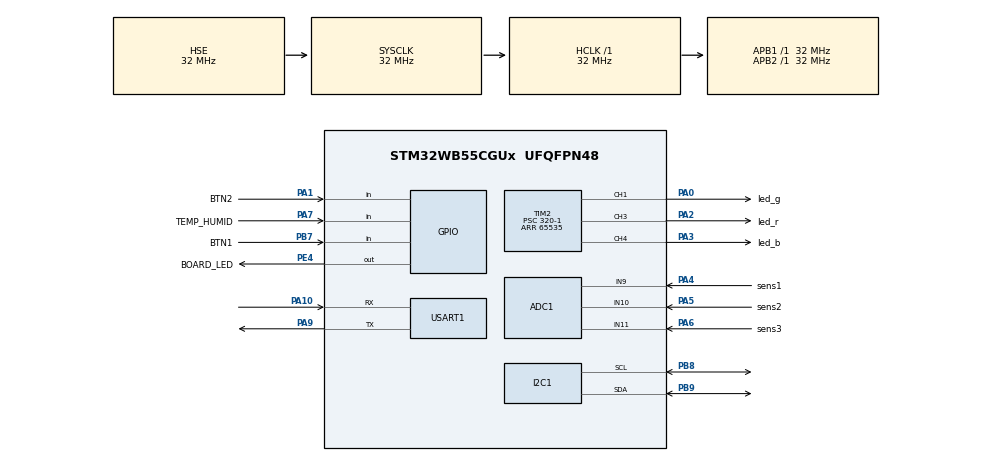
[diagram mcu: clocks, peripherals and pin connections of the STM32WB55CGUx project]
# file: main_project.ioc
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ADC1.Channel-3\#ChannelRegularConversion=ADC_CHANNEL_9
ADC1.Channel-4\#ChannelRegularConversion=ADC_CHANNEL_10
ADC1.Channel-5\#ChannelRegularConversion=ADC_CHANNEL_11
ADC1.ClockPrescaler=ADC_CLOCK_ASYNC_DIV32
ADC1.ContinuousConvMode=ENABLE
ADC1.DMAContinuousRequests=ENABLE
ADC1.EOCSelection=ADC_EOC_SEQ_CONV
ADC1.EnableRegularConversion=ENABLE
ADC1.ExternalTrigConv=ADC_SOFTWARE_START
ADC1.NbrOfConversion=3
ADC1.NbrOfConversionFlag=1
ADC1.OffsetNumber-3\#ChannelRegularConversion=ADC_OFFSET_NONE
ADC1.OffsetNumber-4\#ChannelRegularConversion=ADC_OFFSET_NONE
ADC1.OffsetNumber-5\#ChannelRegularConversion=ADC_OFFSET_NONE
ADC1.Overrun=ADC_OVR_DATA_OVERWRITTEN
ADC1.Rank-3\#ChannelRegularConversion=1
ADC1.Rank-4\#ChannelRegularConversion=2
ADC1.Rank-5\#ChannelRegularConversion=3
ADC1.SamplingTime-3\#ChannelRegularConversion=ADC_SAMPLETIME_2CYCLES_5
ADC1.SamplingTime-4\#ChannelRegularConversion=ADC_SAMPLETIME_2CYCLES_5
ADC1.SamplingTime-5\#ChannelRegularConversion=ADC_SAMPLETIME_2CYCLES_5
ADC1.master=1
Dma.ADC1.0.Direction=DMA_PERIPH_TO_MEMORY
Dma.ADC1.0.EventEnable=DISABLE
Dma.ADC1.0.Instance=DMA1_Channel1
Dma.ADC1.0.MemDataAlignment=DMA_MDATAALIGN_HALFWORD
Dma.ADC1.0.MemInc=DMA_MINC_ENABLE
Dma.ADC1.0.Mode=DMA_CIRCULAR
Dma.ADC1.0.PeriphDataAlignment=DMA_PDATAALIGN_HALFWORD
Dma.ADC1.0.PeriphInc=DMA_PINC_DISABLE
Dma.ADC1.0.Polarity=HAL_DMAMUX_REQ_GEN_RISING
Dma.ADC1.0.Priority=DMA_PRIORITY_LOW
Dma.ADC1.0.RequestNumber=1
Dma.ADC1.0.SignalID=NONE
Dma.ADC1.0.SyncEnable=DISABLE
Dma.ADC1.0.SyncPolarity=HAL_DMAMUX_SYNC_NO_EVENT
Dma.ADC1.0.SyncRequestNumber=1
Dma.ADC1.0.SyncSignalID=NONE
Dma.Request0=ADC1
I2C1.Timing=0x00B07CB4
Mcu.Family=STM32WB
Mcu.Name=STM32WB55CGUx
Mcu.Package=UFQFPN48
NVIC.DMA1_Channel1_IRQn=true\:0\:0\:false\:false\:true\:false\:true\:true
NVIC.HSEM_IRQn=true\:0\:0\:false\:false\:true\:false\:true\:true
NVIC.IPCC_C1_RX_IRQn=true\:0\:0\:false\:false\:true\:true\:true\:true
NVIC.IPCC_C1_TX_IRQn=true\:0\:0\:false\:false\:true\:true\:true\:true
NVIC.PriorityGroup=NVIC_PRIORITYGROUP_4
NVIC.USART1_IRQn=true\:0\:0\:false\:false\:true\:false\:true\:true
OSC_IN.Mode=HSE-External-Oscillator
OSC_IN.Signal=RCC_OSC_IN
OSC_OUT.Mode=HSE-External-Oscillator
OSC_OUT.Signal=RCC_OSC_OUT
PA0.GPIO_Label=led_g
PA0.GPIO_PuPd=GPIO_PULLDOWN
PA0.Signal=S_TIM2_CH1
PA1.GPIO_Label=BTN2
PA1.GPIO_PuPd=GPIO_PULLUP
PA1.Signal=GPIO_Input
PA10.Mode=Asynchronous
PA10.Signal=USART1_RX
PA2.GPIO_Label=led_r
PA2.GPIO_PuPd=GPIO_PULLDOWN
PA2.Signal=S_TIM2_CH3
PA3.GPIO_Label=led_b
PA3.GPIO_PuPd=GPIO_PULLDOWN
PA3.Signal=S_TIM2_CH4
PA4.GPIO_Label=sens1
PA4.Signal=ADCx_IN9
PA5.GPIO_Label=sens2
PA5.Signal=ADCx_IN10
PA6.GPIO_Label=sens3
PA6.Signal=ADCx_IN11
PA7.GPIO_Label=TEMP_HUMID
PA7.Signal=GPIO_Input
PA9.Mode=Asynchronous
PA9.Signal=USART1_TX
PB7.GPIO_Label=BTN1
PB7.GPIO_PuPd=GPIO_PULLUP
PB7.Signal=GPIO_Input
PB8.Mode=I2C
PB8.Signal=I2C1_SCL
PB9.Mode=I2C
PB9.Signal=I2C1_SDA
PC14-OSC32_IN.Mode=LSE-External-Oscillator
PC14-OSC32_IN.Signal=RCC_OSC32_IN
PC15-OSC32_OUT.Mode=LSE-External-Oscillator
PC15-OSC32_OUT.Signal=RCC_OSC32_OUT
PE4.GPIO_Label=BOARD_LED
PE4.Signal=GPIO_Output
ProjectManager.HeapSize=0x200
ProjectManager.StackSize=0x400
ProjectManager.TargetToolchain=STM32CubeIDE
RCC.ADCFreq_Value=48000000
RCC.AHBFreq_Value=32000000
RCC.APB1Freq_Value=32000000
RCC.APB1TimFreq_Value=32000000
RCC.APB2Freq_Value=32000000
RCC.APB2TimFreq_Value=32000000
RCC.APB3Freq_Value=16000000
RCC.CortexFreq_Value=32000000
RCC.HCLKFreq_Value=32000000
RCC.HSE_VALUE=32000000
RCC.HSI48_VALUE=48000000
RCC.HSI_VALUE=16000000
RCC.PLLSAI1N=24
RCC.SYSCLKFreq_VALUE=32000000
RCC.SYSCLKSource=RCC_SYSCLKSOURCE_HSE
RCC.USBFreq_Value=48000000
RCC.VCOOutputFreq_Value=32000000
RF1.Mode=RF1_Activate
RF1.Signal=RF_RF1
SH.ADCx_IN10.0=ADC1_IN10,IN10-Single-Ended
SH.ADCx_IN11.0=ADC1_IN11,IN11-Single-Ended
SH.ADCx_IN9.0=ADC1_IN9,IN9-Single-Ended
SH.S_TIM2_CH1.0=TIM2_CH1,PWM Generation1 CH1
SH.S_TIM2_CH3.0=TIM2_CH3,PWM Generation3 CH3
SH.S_TIM2_CH4.0=TIM2_CH4,PWM Generation4 CH4
STM32_WPAN.APPLI_CONFIG_LOG_LEVEL=LOG_LEVEL_DEBG
STM32_WPAN.APPLI_PRINT_FILE_FUNC_LINE=1
STM32_WPAN.CB_COLORCONTROL_SERVER_COLORLOOPSET_ENDPOINT1=false
STM32_WPAN.CB_COLORCONTROL_SERVER_MOVECOLORTEMP_ENDPOINT1=false
STM32_WPAN.CB_COLORCONTROL_SERVER_MOVECOLORXY_ENDPOINT1=false
STM32_WPAN.CB_COLORCONTROL_SERVER_MOVEHUEENH_ENDPOINT1=false
STM32_WPAN.CB_COLORCONTROL_SERVER_MOVEHUE_ENDPOINT1=false
STM32_WPAN.CB_COLORCONTROL_SERVER_MOVESAT_ENDPOINT1=false
STM32_WPAN.CB_COLORCONTROL_SERVER_MOVETOCOLORTEMP_ENDPOINT1=false
STM32_WPAN.CB_COLORCONTROL_SERVER_MOVETOCOLORXY_ENDPOINT1=true
STM32_WPAN.CB_COLORCONTROL_SERVER_MOVETOHUEENH_ENDPOINT1=false
STM32_WPAN.CB_COLORCONTROL_SERVER_MOVETOHUESATENH_ENDPOINT1=false
STM32_WPAN.CB_COLORCONTROL_SERVER_MOVETOHUESAT_ENDPOINT1=false
STM32_WPAN.CB_COLORCONTROL_SERVER_MOVETOHUE_ENDPOINT1=false
STM32_WPAN.CB_COLORCONTROL_SERVER_MOVETOSAT_ENDPOINT1=false
STM32_WPAN.CB_COLORCONTROL_SERVER_STEPCOLORTEMP_ENDPOINT1=false
STM32_WPAN.CB_COLORCONTROL_SERVER_STEPCOLORXY_ENDPOINT1=false
STM32_WPAN.CB_COLORCONTROL_SERVER_STEPHUEENH_ENDPOINT1=false
STM32_WPAN.CB_COLORCONTROL_SERVER_STEPHUE_ENDPOINT1=false
STM32_WPAN.CB_COLORCONTROL_SERVER_STEPSAT_ENDPOINT1=false
STM32_WPAN.CB_COLORCONTROL_SERVER_STOPMOVESTEP_ENDPOINT1=false
STM32_WPAN.CB_LEVELCONTROL_SERVER_MOVE_ENDPOINT1=false
STM32_WPAN.CB_LEVELCONTROL_SERVER_STEP_ENDPOINT1=false
STM32_WPAN.CB_LEVELCONTROL_SERVER_STOP_ENDPOINT1=false
STM32_WPAN.CFG_LSCLK_LSE=0
STM32_WPAN.ENDPOINT1_DEVICE_ID=ZCL_DEVICE_ONOFF_SWITCH
STM32_WPAN.ENDPOINT1_ID_ZGB=20
STM32_WPAN.ENDPOINT2_DEVICE_ID=ZCL_DEVICE_SIMPLE_SENSOR
STM32_WPAN.ENDPOINT2_ID_ZGB=21
STM32_WPAN.ENDPOINT3_DEVICE_ID=ZCL_DEVICE_SIMPLE_SENSOR
STM32_WPAN.ENDPOINT3_ID_ZGB=22
STM32_WPAN.ENDPOINT4_DEVICE_ID=ZCL_DEVICE_SIMPLE_SENSOR
STM32_WPAN.ENDPOINT4_ID_ZGB=23
STM32_WPAN.ZCL_BASIC_ENDPOINT1=CLIENT_SERVER
STM32_WPAN.ZCL_BASIC_ENDPOINT2=CLIENT_SERVER
STM32_WPAN.ZCL_COLORCONTROL_ENDPOINT1=SERVER
STM32_WPAN.ZCL_LEVELCONTROL_ENDPOINT1=SERVER
STM32_WPAN.ZCL_TEMPERATURE_MEASUREMENT_ENDPOINT2=SERVER
STM32_WPAN.ZCL_WATER_CONTENT_MEASUREMENT_ENDPOINT2=SERVER
STM32_WPAN.ZCL_WATER_CONTENT_MEASUREMENT_ENDPOINT3=SERVER
STM32_WPAN.ZCL_WATER_CONTENT_MEASUREMENT_ENDPOINT4=SERVER
STM32_WPAN.ZGB_DEVICE_ROLE=ROUTER
STM32_WPAN.ZGB_ENDPOINT1_PROFILE_ID=ZCL_PROFILE_HOME_AUTOMATION
STM32_WPAN.ZGB_NB_ENDPOINTS=4
TIM1.Period=10000-1
TIM1.Prescaler=32000-1
TIM16.Period=65535-1
TIM16.Prescaler=32-1
TIM2.Channel-PWM\ Generation1\ CH1=TIM_CHANNEL_1
TIM2.Channel-PWM\ Generation3\ CH3=TIM_CHANNEL_3
TIM2.Channel-PWM\ Generation4\ CH4=TIM_CHANNEL_4
TIM2.Period=65535
TIM2.Prescaler=320-1
USART1.VirtualMode-Asynchronous=VM_ASYNC
VP_HSEM_VS_HSEM.Mode=HSEM_Activate
VP_IPCC_VS_IPCC.Mode=IPCC_Activate
VP_MEMORYMAP_VS_MEMORYMAP.Mode=CurAppReg
VP_RTC_VS_RTC_Activate.Mode=RTC_Enabled
VP_RTC_VS_RTC_WakeUp_intern.Mode=WakeUp
VP_SEQUENCER_VS_SEQUENCER.Mode=SEQUENCER_Enabled
VP_STM32_WPAN_VS_ZIGBEE.Mode=MOD_ZGB_ENDPOINT
VP_TIM16_VS_ClockSourceINT.Mode=Enable_Timer
VP_TIM1_VS_ClockSourceINT.Mode=Internal
VP_TINY_LPM_VS_TINY_LPM.Mode=TINY_LPM_Enabled
board=custom

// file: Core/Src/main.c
/* USER CODE BEGIN Header */
/**
  ******************************************************************************
  * @file           : main.c
  * @brief          : Main program body
  ******************************************************************************
  * @attention
  *
  * Copyright (c) 2024 STMicroelectronics.
  * All rights reserved.
  *
  * This software is licensed under terms that can be found in the LICENSE file
  * in the root directory of this software component.
  * If no LICENSE file comes with this software, it is provided AS-IS.
  *
  ******************************************************************************
  */
/* USER CODE END Header */
#include "main.h"

/* USER CODE BEGIN Includes */
#include <stdio.h>
#include "../User_Code/HTU21/HTU21.h"
#include "../User_Code/SOIL_MOIST/SOIL_MOIST.h"
#include "../User_Code/RGB/RGB.h"
#include "../User_Code/ISR/isr.h"

/* USER CODE END Includes */

ADC_HandleTypeDef hadc1;
DMA_HandleTypeDef hdma_adc1;

I2C_HandleTypeDef hi2c1;

IPCC_HandleTypeDef hipcc;

RTC_HandleTypeDef hrtc;

TIM_HandleTypeDef htim1;
TIM_HandleTypeDef htim2;
TIM_HandleTypeDef htim16;

UART_HandleTypeDef huart1;

/* USER CODE BEGIN PV */
uint16_t adc_buffer[3];									// hold ADC DMA values

struct RGB_obj OBJ_RGB_LED = {0};						// Object for RGB LED Strip
struct HTU21_obj OBJ_HTU21 = {0};						// Object for temp/humidity sensor
struct SOIL_MOIST_obj OBJ_SOIL_MOIST_sensor_1 = {0};	// Object for soil moisture sensor 1
struct SOIL_MOIST_obj OBJ_SOIL_MOIST_sensor_2 = {0};	// Object for soil moisture sensor 1

/* HTU21D variables */

/* USER CODE END PV */

void SystemClock_Config(void);
void PeriphCommonClock_Config(void);
static void MX_RF_Init(void);
static void MX_GPIO_Init(void);
static void MX_DMA_Init(void);
static void MX_IPCC_Init(void);
static void MX_USART1_UART_Init(void);
static void MX_RTC_Init(void);
static void MX_I2C1_Init(void);
static void MX_TIM2_Init(void);
static void MX_TIM16_Init(void);
static void MX_ADC1_Init(void);
static void MX_TIM1_Init(void);

/* USER CODE BEGIN 0 */
#define HAL_SMALL_WAIT  50

// check if necessary
// Define serial output function using UART2
int __io_putchar(int ch)
{
    HAL_UART_Transmit(&huart1, (uint8_t *)&ch, 1, HAL_SMALL_WAIT);
    return 1;
}
// check if necessary
/* USER CODE END 0 */

int main(void)
{

  /* MCU Configuration--------------------------------------------------------*/

  /* Reset of all peripherals, Initializes the Flash interface and the Systick. */
  HAL_Init();
  /* Config code for STM32_WPAN (HSE Tuning must be done before system clock configuration) */
  MX_APPE_Config();

  /* Configure the system clock */
  SystemClock_Config();

  /* Configure the peripherals common clocks */
  PeriphCommonClock_Config();

  /* IPCC initialisation */
  MX_IPCC_Init();

  /* Initialize all configured peripherals */
  MX_RF_Init();
  MX_GPIO_Init();
  MX_DMA_Init();
  MX_USART1_UART_Init();
  MX_RTC_Init();
  MX_I2C1_Init();
  MX_TIM2_Init();
  MX_TIM16_Init();
  MX_ADC1_Init();
  MX_TIM1_Init();
  /* USER CODE BEGIN 2 */
  // check if anything else necessary and to put to header/source
  setvbuf(stdout, NULL, _IONBF, 0); // disable stdio output buffering for printf command
  printf("\n\n\nNew start\n");

  // init DHT11
  HTU21_init(&OBJ_HTU21, &hi2c1);
  SOIL_MOIST_init(&OBJ_SOIL_MOIST_sensor_1, &adc_buffer[0]);
  SOIL_MOIST_init(&OBJ_SOIL_MOIST_sensor_2, &adc_buffer[1]);
  RGB_init(&OBJ_RGB_LED, &htim2, TIM_CHANNEL_4, TIM_CHANNEL_1, TIM_CHANNEL_3);
  HAL_ADC_Start_DMA(&hadc1, (uint32_t*)adc_buffer, 3);

  if (HAL_TIM_Base_Start_IT(&htim1) != HAL_OK)
    {
      /* Starting Error */
      Error_Handler();
    }

  /* USER CODE END 2 */

  /* Init code for STM32_WPAN */
  MX_APPE_Init();

  /* Infinite loop */
  while (1)
  {
    MX_APPE_Process();

    /* USER CODE BEGIN 3 */
    uint32_t timerValue = __HAL_TIM_GET_COUNTER(&htim1);
    if (timerValue >= 10000-1) { // 10000 corresponds to the period set
		// Reset the counter
		__HAL_TIM_SET_COUNTER(&htim1, 0);

		// Call your routine
		cyclic_routine();
	}

  }
  /* USER CODE END 3 */
}

void SystemClock_Config(void)
{
  RCC_OscInitTypeDef RCC_OscInitStruct = {0};
  RCC_ClkInitTypeDef RCC_ClkInitStruct = {0};

  /** Macro to configure the PLL multiplication factor
  */
  __HAL_RCC_PLL_PLLM_CONFIG(RCC_PLLM_DIV1);

  /** Macro to configure the PLL clock source
  */
  __HAL_RCC_PLL_PLLSOURCE_CONFIG(RCC_PLLSOURCE_MSI);

  /** Configure the main internal regulator output voltage
  */
  __HAL_PWR_VOLTAGESCALING_CONFIG(PWR_REGULATOR_VOLTAGE_SCALE1);

  /** Initializes the RCC Oscillators according to the specified parameters
  * in the RCC_OscInitTypeDef structure.
  */
  RCC_OscInitStruct.OscillatorType = RCC_OSCILLATORTYPE_HSI|RCC_OSCILLATORTYPE_LSI1
                              |RCC_OSCILLATORTYPE_HSE|RCC_OSCILLATORTYPE_MSI;
  RCC_OscInitStruct.HSEState = RCC_HSE_ON;
  RCC_OscInitStruct.HSIState = RCC_HSI_ON;
  RCC_OscInitStruct.MSIState = RCC_MSI_ON;
  RCC_OscInitStruct.HSICalibrationValue = RCC_HSICALIBRATION_DEFAULT;
  RCC_OscInitStruct.MSICalibrationValue = RCC_MSICALIBRATION_DEFAULT;
  RCC_OscInitStruct.MSIClockRange = RCC_MSIRANGE_6;
  RCC_OscInitStruct.LSIState = RCC_LSI_ON;
  RCC_OscInitStruct.PLL.PLLState = RCC_PLL_NONE;
  if (HAL_RCC_OscConfig(&RCC_OscInitStruct) != HAL_OK)
  {
    Error_Handler();
  }

  /** Configure the SYSCLKSource, HCLK, PCLK1 and PCLK2 clocks dividers
  */
  RCC_ClkInitStruct.ClockType = RCC_CLOCKTYPE_HCLK4|RCC_CLOCKTYPE_HCLK2
                              |RCC_CLOCKTYPE_HCLK|RCC_CLOCKTYPE_SYSCLK
                              |RCC_CLOCKTYPE_PCLK1|RCC_CLOCKTYPE_PCLK2;
  RCC_ClkInitStruct.SYSCLKSource = RCC_SYSCLKSOURCE_HSE;
  RCC_ClkInitStruct.AHBCLKDivider = RCC_SYSCLK_DIV1;
  RCC_ClkInitStruct.APB1CLKDivider = RCC_HCLK_DIV1;
  RCC_ClkInitStruct.APB2CLKDivider = RCC_HCLK_DIV1;
  RCC_ClkInitStruct.AHBCLK2Divider = RCC_SYSCLK_DIV1;
  RCC_ClkInitStruct.AHBCLK4Divider = RCC_SYSCLK_DIV1;

  if (HAL_RCC_ClockConfig(&RCC_ClkInitStruct, FLASH_LATENCY_1) != HAL_OK)
  {
    Error_Handler();
  }
}

void PeriphCommonClock_Config(void)
{
  RCC_PeriphCLKInitTypeDef PeriphClkInitStruct = {0};

  /** Initializes the peripherals clock
  */
  PeriphClkInitStruct.PeriphClockSelection = RCC_PERIPHCLK_SMPS|RCC_PERIPHCLK_RFWAKEUP;
  PeriphClkInitStruct.RFWakeUpClockSelection = RCC_RFWKPCLKSOURCE_HSE_DIV1024;
  PeriphClkInitStruct.SmpsClockSelection = RCC_SMPSCLKSOURCE_HSI;
  PeriphClkInitStruct.SmpsDivSelection = RCC_SMPSCLKDIV_RANGE1;

  if (HAL_RCCEx_PeriphCLKConfig(&PeriphClkInitStruct) != HAL_OK)
  {
    Error_Handler();
  }
}

static void MX_ADC1_Init(void)
{

  ADC_ChannelConfTypeDef sConfig = {0};

  /** Common config
  */
  hadc1.Instance = ADC1;
  hadc1.Init.ClockPrescaler = ADC_CLOCK_ASYNC_DIV32;
  hadc1.Init.Resolution = ADC_RESOLUTION_12B;
  hadc1.Init.DataAlign = ADC_DATAALIGN_RIGHT;
  hadc1.Init.ScanConvMode = ADC_SCAN_ENABLE;
  hadc1.Init.EOCSelection = ADC_EOC_SEQ_CONV;
  hadc1.Init.LowPowerAutoWait = DISABLE;
  hadc1.Init.ContinuousConvMode = ENABLE;
  hadc1.Init.NbrOfConversion = 3;
  hadc1.Init.DiscontinuousConvMode = DISABLE;
  hadc1.Init.ExternalTrigConv = ADC_SOFTWARE_START;
  hadc1.Init.ExternalTrigConvEdge = ADC_EXTERNALTRIGCONVEDGE_NONE;
  hadc1.Init.DMAContinuousRequests = ENABLE;
  hadc1.Init.Overrun = ADC_OVR_DATA_OVERWRITTEN;
  hadc1.Init.OversamplingMode = DISABLE;
  if (HAL_ADC_Init(&hadc1) != HAL_OK)
  {
    Error_Handler();
  }

  /** Configure Regular Channel
  */
  sConfig.Channel = ADC_CHANNEL_9;
  sConfig.Rank = ADC_REGULAR_RANK_1;
  sConfig.SamplingTime = ADC_SAMPLETIME_2CYCLES_5;
  sConfig.SingleDiff = ADC_SINGLE_ENDED;
  sConfig.OffsetNumber = ADC_OFFSET_NONE;
  sConfig.Offset = 0;
  if (HAL_ADC_ConfigChannel(&hadc1, &sConfig) != HAL_OK)
  {
    Error_Handler();
  }

  /** Configure Regular Channel
  */
  sConfig.Channel = ADC_CHANNEL_10;
  sConfig.Rank = ADC_REGULAR_RANK_2;
  if (HAL_ADC_ConfigChannel(&hadc1, &sConfig) != HAL_OK)
  {
    Error_Handler();
  }

  /** Configure Regular Channel
  */
  sConfig.Channel = ADC_CHANNEL_11;
  sConfig.Rank = ADC_REGULAR_RANK_3;
  if (HAL_ADC_ConfigChannel(&hadc1, &sConfig) != HAL_OK)
  {
    Error_Handler();
  }

}

static void MX_I2C1_Init(void)
{

  hi2c1.Instance = I2C1;
  hi2c1.Init.Timing = 0x00B07CB4;
  hi2c1.Init.OwnAddress1 = 0;
  hi2c1.Init.AddressingMode = I2C_ADDRESSINGMODE_7BIT;
  hi2c1.Init.DualAddressMode = I2C_DUALADDRESS_DISABLE;
  hi2c1.Init.OwnAddress2 = 0;
  hi2c1.Init.OwnAddress2Masks = I2C_OA2_NOMASK;
  hi2c1.Init.GeneralCallMode = I2C_GENERALCALL_DISABLE;
  hi2c1.Init.NoStretchMode = I2C_NOSTRETCH_DISABLE;
  if (HAL_I2C_Init(&hi2c1) != HAL_OK)
  {
    Error_Handler();
  }

  /** Configure Analogue filter
  */
  if (HAL_I2CEx_ConfigAnalogFilter(&hi2c1, I2C_ANALOGFILTER_ENABLE) != HAL_OK)
  {
    Error_Handler();
  }

  /** Configure Digital filter
  */
  if (HAL_I2CEx_ConfigDigitalFilter(&hi2c1, 0) != HAL_OK)
  {
    Error_Handler();
  }

}

static void MX_IPCC_Init(void)
{

  hipcc.Instance = IPCC;
  if (HAL_IPCC_Init(&hipcc) != HAL_OK)
  {
    Error_Handler();
  }

}

static void MX_RF_Init(void)
{

}

static void MX_RTC_Init(void)
{

  /** Initialize RTC Only
  */
  hrtc.Instance = RTC;
  hrtc.Init.HourFormat = RTC_HOURFORMAT_24;
  hrtc.Init.AsynchPrediv = CFG_RTC_ASYNCH_PRESCALER;
  hrtc.Init.SynchPrediv = CFG_RTC_SYNCH_PRESCALER;
  hrtc.Init.OutPut = RTC_OUTPUT_DISABLE;
  hrtc.Init.OutPutPolarity = RTC_OUTPUT_POLARITY_HIGH;
  hrtc.Init.OutPutType = RTC_OUTPUT_TYPE_OPENDRAIN;
  hrtc.Init.OutPutRemap = RTC_OUTPUT_REMAP_NONE;
  if (HAL_RTC_Init(&hrtc) != HAL_OK)
  {
    Error_Handler();
  }

  /** Enable the WakeUp
  */
  if (HAL_RTCEx_SetWakeUpTimer(&hrtc, 0, RTC_WAKEUPCLOCK_RTCCLK_DIV16) != HAL_OK)
  {
    Error_Handler();
  }

}

static void MX_TIM1_Init(void)
{

  TIM_ClockConfigTypeDef sClockSourceConfig = {0};
  TIM_MasterConfigTypeDef sMasterConfig = {0};

  htim1.Instance = TIM1;
  htim1.Init.Prescaler = 32000-1;
  htim1.Init.CounterMode = TIM_COUNTERMODE_UP;
  htim1.Init.Period = 10000-1;
  htim1.Init.ClockDivision = TIM_CLOCKDIVISION_DIV1;
  htim1.Init.RepetitionCounter = 0;
  htim1.Init.AutoReloadPreload = TIM_AUTORELOAD_PRELOAD_DISABLE;
  if (HAL_TIM_Base_Init(&htim1) != HAL_OK)
  {
    Error_Handler();
  }
  sClockSourceConfig.ClockSource = TIM_CLOCKSOURCE_INTERNAL;
  if (HAL_TIM_ConfigClockSource(&htim1, &sClockSourceConfig) != HAL_OK)
  {
    Error_Handler();
  }
  sMasterConfig.MasterOutputTrigger = TIM_TRGO_RESET;
  sMasterConfig.MasterOutputTrigger2 = TIM_TRGO2_RESET;
  sMasterConfig.MasterSlaveMode = TIM_MASTERSLAVEMODE_DISABLE;
  if (HAL_TIMEx_MasterConfigSynchronization(&htim1, &sMasterConfig) != HAL_OK)
  {
    Error_Handler();
  }

}

static void MX_TIM2_Init(void)
{

  TIM_MasterConfigTypeDef sMasterConfig = {0};
  TIM_OC_InitTypeDef sConfigOC = {0};

  htim2.Instance = TIM2;
  htim2.Init.Prescaler = 320-1;
  htim2.Init.CounterMode = TIM_COUNTERMODE_UP;
  htim2.Init.Period = 65535;
  htim2.Init.ClockDivision = TIM_CLOCKDIVISION_DIV1;
  htim2.Init.AutoReloadPreload = TIM_AUTORELOAD_PRELOAD_DISABLE;
  if (HAL_TIM_PWM_Init(&htim2) != HAL_OK)
  {
    Error_Handler();
  }
  sMasterConfig.MasterOutputTrigger = TIM_TRGO_RESET;
  sMasterConfig.MasterSlaveMode = TIM_MASTERSLAVEMODE_DISABLE;
  if (HAL_TIMEx_MasterConfigSynchronization(&htim2, &sMasterConfig) != HAL_OK)
  {
    Error_Handler();
  }
  sConfigOC.OCMode = TIM_OCMODE_PWM1;
  sConfigOC.Pulse = 0;
  sConfigOC.OCPolarity = TIM_OCPOLARITY_HIGH;
  sConfigOC.OCFastMode = TIM_OCFAST_DISABLE;
  if (HAL_TIM_PWM_ConfigChannel(&htim2, &sConfigOC, TIM_CHANNEL_1) != HAL_OK)
  {
    Error_Handler();
  }
  if (HAL_TIM_PWM_ConfigChannel(&htim2, &sConfigOC, TIM_CHANNEL_3) != HAL_OK)
  {
    Error_Handler();
  }
  if (HAL_TIM_PWM_ConfigChannel(&htim2, &sConfigOC, TIM_CHANNEL_4) != HAL_OK)
  {
    Error_Handler();
  }
  HAL_TIM_MspPostInit(&htim2);

}

static void MX_TIM16_Init(void)
{

  htim16.Instance = TIM16;
  htim16.Init.Prescaler = 32-1;
  htim16.Init.CounterMode = TIM_COUNTERMODE_UP;
  htim16.Init.Period = 65535-1;
  htim16.Init.ClockDivision = TIM_CLOCKDIVISION_DIV1;
  htim16.Init.RepetitionCounter = 0;
  htim16.Init.AutoReloadPreload = TIM_AUTORELOAD_PRELOAD_DISABLE;
  if (HAL_TIM_Base_Init(&htim16) != HAL_OK)
  {
    Error_Handler();
  }

}

static void MX_USART1_UART_Init(void)
{

  huart1.Instance = USART1;
  huart1.Init.BaudRate = 115200;
  huart1.Init.WordLength = UART_WORDLENGTH_8B;
  huart1.Init.StopBits = UART_STOPBITS_1;
  huart1.Init.Parity = UART_PARITY_NONE;
  huart1.Init.Mode = UART_MODE_TX_RX;
  huart1.Init.HwFlowCtl = UART_HWCONTROL_NONE;
  huart1.Init.OverSampling = UART_OVERSAMPLING_16;
  huart1.Init.OneBitSampling = UART_ONE_BIT_SAMPLE_DISABLE;
  huart1.Init.ClockPrescaler = UART_PRESCALER_DIV1;
  huart1.AdvancedInit.AdvFeatureInit = UART_ADVFEATURE_NO_INIT;
  if (HAL_UART_Init(&huart1) != HAL_OK)
  {
    Error_Handler();
  }
  if (HAL_UARTEx_SetTxFifoThreshold(&huart1, UART_TXFIFO_THRESHOLD_1_8) != HAL_OK)
  {
    Error_Handler();
  }
  if (HAL_UARTEx_SetRxFifoThreshold(&huart1, UART_RXFIFO_THRESHOLD_1_8) != HAL_OK)
  {
    Error_Handler();
  }
  if (HAL_UARTEx_DisableFifoMode(&huart1) != HAL_OK)
  {
    Error_Handler();
  }

}

static void MX_DMA_Init(void)
{

  /* DMA controller clock enable */
  __HAL_RCC_DMAMUX1_CLK_ENABLE();
  __HAL_RCC_DMA1_CLK_ENABLE();

  /* DMA interrupt init */
  /* DMA1_Channel1_IRQn interrupt configuration */
  HAL_NVIC_SetPriority(DMA1_Channel1_IRQn, 0, 0);
  HAL_NVIC_EnableIRQ(DMA1_Channel1_IRQn);

}

static void MX_GPIO_Init(void)
{
  GPIO_InitTypeDef GPIO_InitStruct = {0};

  /* GPIO Ports Clock Enable */
  __HAL_RCC_GPIOC_CLK_ENABLE();
  __HAL_RCC_GPIOB_CLK_ENABLE();
  __HAL_RCC_GPIOA_CLK_ENABLE();
  __HAL_RCC_GPIOE_CLK_ENABLE();

  /*Configure GPIO pin Output Level */
  HAL_GPIO_WritePin(BOARD_LED_GPIO_Port, BOARD_LED_Pin, GPIO_PIN_RESET);

  /*Configure GPIO pin : BTN2_Pin */
  GPIO_InitStruct.Pin = BTN2_Pin;
  GPIO_InitStruct.Mode = GPIO_MODE_INPUT;
  GPIO_InitStruct.Pull = GPIO_PULLUP;
  HAL_GPIO_Init(BTN2_GPIO_Port, &GPIO_InitStruct);

  /*Configure GPIO pin : TEMP_HUMID_Pin */
  GPIO_InitStruct.Pin = TEMP_HUMID_Pin;
  GPIO_InitStruct.Mode = GPIO_MODE_INPUT;
  GPIO_InitStruct.Pull = GPIO_NOPULL;
  HAL_GPIO_Init(TEMP_HUMID_GPIO_Port, &GPIO_InitStruct);

  /*Configure GPIO pin : BOARD_LED_Pin */
  GPIO_InitStruct.Pin = BOARD_LED_Pin;
  GPIO_InitStruct.Mode = GPIO_MODE_OUTPUT_PP;
  GPIO_InitStruct.Pull = GPIO_NOPULL;
  GPIO_InitStruct.Speed = GPIO_SPEED_FREQ_LOW;
  HAL_GPIO_Init(BOARD_LED_GPIO_Port, &GPIO_InitStruct);

  /*Configure GPIO pin : BTN1_Pin */
  GPIO_InitStruct.Pin = BTN1_Pin;
  GPIO_InitStruct.Mode = GPIO_MODE_INPUT;
  GPIO_InitStruct.Pull = GPIO_PULLUP;
  HAL_GPIO_Init(BTN1_GPIO_Port, &GPIO_InitStruct);

}

void Error_Handler(void)
{
  __disable_irq();
  while (1)
  {
  }
}
